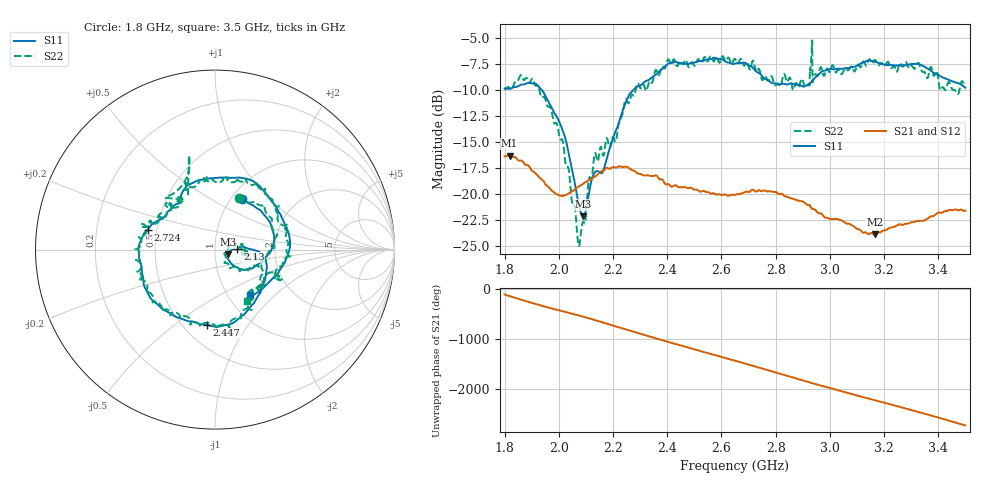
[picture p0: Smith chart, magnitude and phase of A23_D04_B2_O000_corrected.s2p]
! Created with skrf 1.9.0 (http://scikit-rf.org).
# Hz S RI R 50.0
!freq ReS11 ImS11 ReS21 ImS21 ReS12 ImS12 ReS22 ImS22
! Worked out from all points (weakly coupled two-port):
!   1601 points, 1.8 GHz to 3.5 GHz, reference 50 ohm
!   highest |S21| = -16.33 dB at 1.818 GHz (marker M1); lowest = -23.9 dB at 3.165 GHz (marker M2)
!   lowest |S11| = -22.2 dB at 2.09 GHz (marker M3), VSWR 1.17, Z = 57.8 - j3.09 ohm
!   |S11| at or under -10 dB: 1.936 GHz to 2.277 GHz (341.1 MHz wide, 16.2 % of centre)
!   |S22| runs from -25.0 to -5.3 dB; largest |S21 - S12| = 0.0024
!   S11 on the Smith chart (normalised r, x): 1.8 GHz: 1.13, +0.71; 2.13 GHz: 1.29, +0.01; 2.447 GHz: 0.65, -0.66; 2.724 GHz: 0.44, +0.12; 3.5 GHz: 1.26, -0.72
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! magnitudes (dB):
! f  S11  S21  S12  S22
! 1.8 GHz  -9.9  -16.4  -16.4  -9.9
! 1.818 GHz  -9.9  -16.3  -16.3  -9.8
! 1.903 GHz  -9.4  -17.8  -17.8  -9.0
! 1.968 GHz  -11.5  -19.5  -19.6  -11.6
! 2.015 GHz  -14.0  -20.2  -20.2  -15.0
! 2.072 GHz  -20.9  -19.3  -19.4  -24.9
! 2.084 GHz  -22.0  -19.2  -19.1  -23.3
! 2.09 GHz  -22.2  -19.1  -19.1  -22.7
! 2.13 GHz  -18.0  -18.4  -18.4  -16.4
! 2.164 GHz  -17.7  -17.8  -17.7  -16.4
! 2.209 GHz  -14.0  -17.5  -17.4  -15.0
! 2.261 GHz  -10.4  -17.6  -17.6  -11.1
! 2.367 GHz  -8.3  -18.5  -18.4  -8.6
! 2.447 GHz  -7.5  -19.4  -19.4  -7.2
! 2.65 GHz  -7.5  -20.1  -20.1  -7.0
! 2.724 GHz  -8.1  -19.8  -19.7  -8.0
! 2.867 GHz  -9.5  -20.5  -20.5  -10.0
! 2.917 GHz  -9.6  -21.1  -21.1  -9.6
! 2.934 GHz  -9.2  -21.5  -21.4  -5.7
! 3.165 GHz  -7.3  -23.9  -23.9  -7.2
! 3.217 GHz  -7.6  -23.3  -23.3  -7.4
! 3.5 GHz  -9.8  -21.6  -21.6  -9.4
